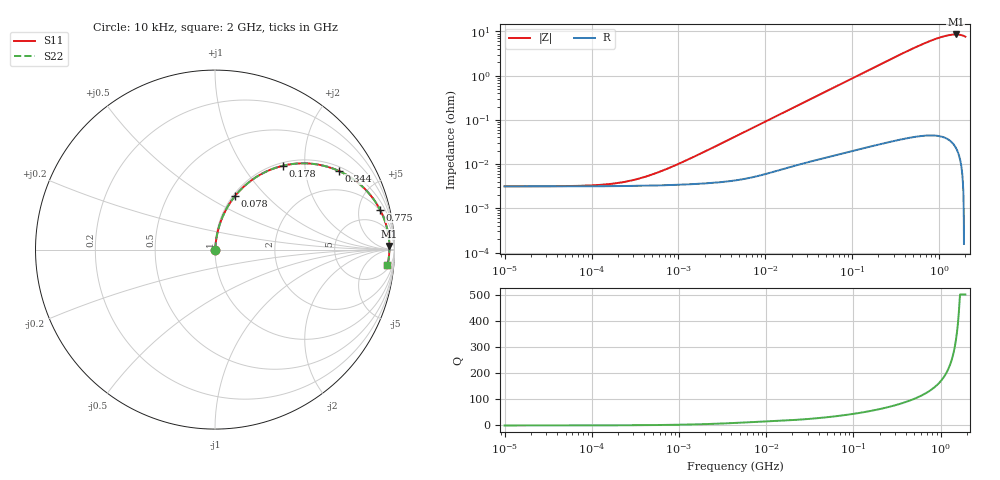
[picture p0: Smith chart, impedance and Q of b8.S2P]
!Generated from: C:\Users\nkfzm\OneDrive - University of Missouri\Desktop\Research\PowerDC\b8\b8.spd
! Port1_ic_port_1::pwr
! Port2_decap_port_1::pwr
!Layout Workbench Version: 24.1.0.10141.541387  000
!Computer Host Name: RS29JQCX3
!TouchstoneFormatFlag = 1
! GNDNET gnd
! NETSLIST
#	Hz	Z	RI	R	1
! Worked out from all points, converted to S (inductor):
!   585 points, 10 kHz to 2 GHz, reference 1 ohm
!   read as one part in series: L = 1.5 nH near 1.5 MHz
!   highest |Z| = 8.56 ohm at 1.55 GHz (marker M1)
!   S11 on the Smith chart (normalised r, x): 10 kHz: 1.00, +0.00; 78 MHz: 1.02, +0.68; 178 MHz: 1.06, +1.54; 344 MHz: 1.15, +3.04; 775 MHz: 1.87, +7.94; 2 GHz: 7, -19
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10000  -35.46 -9.7e+05  -35.46 -9.7e+05  -35.46 -9.7e+05  -35.46 -9.7e+05
1000000  -0.000377 -9700  -0.00208 -9700  -0.00208 -9700  -0.00036 -9700
2500000  0.00139 -3880  -0.000489 -3880  -0.000489 -3880  0.0014 -3880
4000000  0.00152 -2425  -0.000547 -2425  -0.000547 -2425  0.00153 -2425
8000000  0.00195 -1212  -0.000697 -1212  -0.000697 -1212  0.00197 -1212
1.4e7  0.00265 -692.8  -0.000933 -692.9  -0.000933 -692.9  0.00268 -692.8
2e7  0.00325 -484.9  -0.0011 -485  -0.0011 -485  0.00329 -484.9
3.8e7  0.00452 -255.1  -0.00157 -255.3  -0.00157 -255.3  0.00458 -255.1
5.6e7  0.00549 -173  -0.00189 -173.3  -0.00189 -173.3  0.00556 -173
7.8e7  0.00649 -124.1  -0.00222 -124.4  -0.00222 -124.4  0.00657 -124.1
1.22e8  0.00815 -79.12  -0.00276 -79.65  -0.00276 -79.65  0.00825 -79.12
1.78e8  0.00989 -53.93  -0.00331 -54.7  -0.00331 -54.7  0.01 -53.93
3.34e8  0.0137 -27.98  -0.00451 -29.44  -0.00451 -29.44  0.0139 -27.98
3.44e8  0.014 -27.1  -0.00458 -28.6  -0.00458 -28.6  0.0141 -27.1
5e8  0.0171 -17.8  -0.00559 -20  -0.00559 -20  0.0173 -17.81
6.7e8  0.0202 -12.32  -0.00668 -15.29  -0.00668 -15.29  0.0205 -12.33
7.75e8  0.0221 -10.01  -0.00739 -13.47  -0.00739 -13.47  0.0224 -10.01
1.005e9  0.0263 -6.34  -0.0092 -10.95  -0.0092 -10.95  0.0266 -6.345
1.335e9  0.0331 -2.694  -0.0129 -9.154  -0.0129 -9.154  0.0335 -2.701
1.55e9  0.0388 -0.7588  -0.0166 -8.631  -0.0166 -8.631  0.0391 -0.7677
1.67e9  0.0426 0.2619  -0.0194 -8.504  -0.0194 -8.504  0.043 0.2523
2e9  0.0584 3.103  -0.0323 -8.734  -0.0323 -8.734  0.0588 3.092
